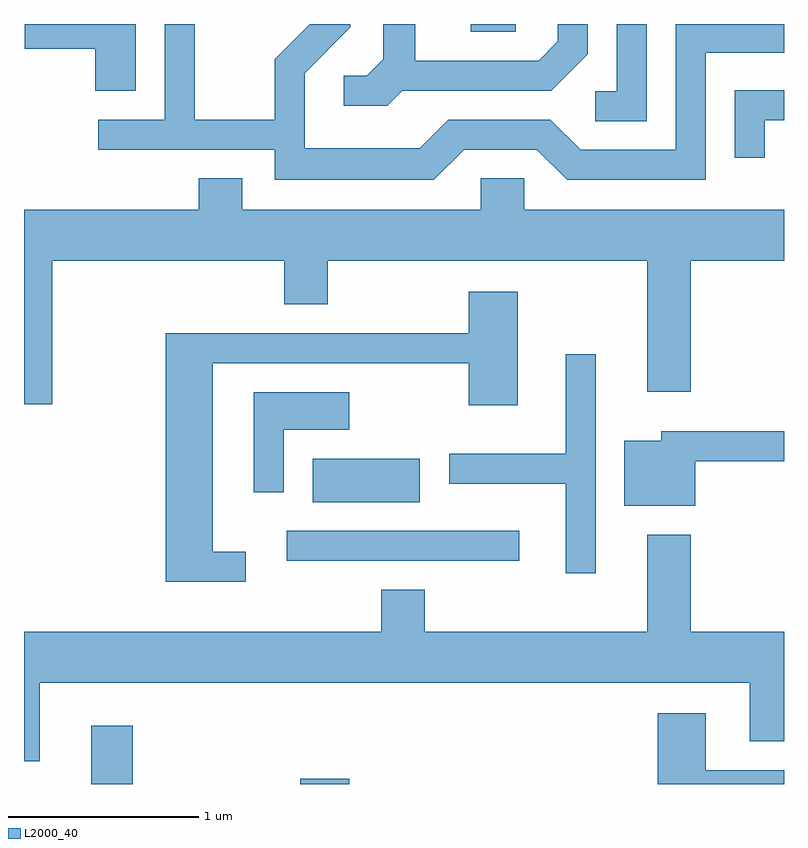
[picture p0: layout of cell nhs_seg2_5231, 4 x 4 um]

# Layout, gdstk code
import gdstk
lib = gdstk.Library(unit=1e-6, precision=1e-09)
def R(c, l, rs):  # rectangles x0, y0, x1, y1
    for r in rs: c.add(gdstk.rectangle(r[:2], r[2:], *l))
def P(c, l, *ps):  # polygons
    for p in ps: c.add(gdstk.Polygon(p, *l))
L2000_40 = (2000, 40)

nhs_seg2_5231 = lib.new_cell('nhs_seg2_5231')
R(nhs_seg2_5231, L2000_40, [(339.966,1027.802,340.184,1028.109), (341.066,1027.802,341.324,1027.829), (340.993,1028.976,342.218,1029.134), (341.131,1029.286,341.694,1029.514), (341.961,1031.761,342.199,1031.802)])
P(nhs_seg2_5231, L2000_40, [(341.602,1031.451),(342.387,1031.451),(342.579,1031.644),(342.579,1031.802),(342.421,1031.802),(342.421,1031.712),(342.319,1031.609),(341.669,1031.609),(341.669,1031.802),(341.501,1031.802),(341.501,1031.617),(341.414,1031.529),(341.293,1031.529),(341.293,1031.371),(341.522,1031.371)],
  [(340.199,1031.802),(339.616,1031.802),(339.616,1031.671),(339.986,1031.671),(339.986,1031.451),(340.199,1031.451)],
  [(342.889,1031.802),(342.731,1031.802),(342.731,1031.449),(342.618,1031.449),(342.618,1031.291),(342.889,1031.291)],
  [(341.927,1031.141),(342.309,1031.141),(342.469,1030.981),(343.199,1030.981),(343.199,1031.651),(343.611,1031.651),(343.611,1031.802),(343.041,1031.802),(343.041,1031.139),(342.542,1031.139),(342.382,1031.299),(341.844,1031.299),(341.694,1031.149),(341.089,1031.149),(341.089,1031.544),(341.329,1031.784),(341.329,1031.802),(341.116,1031.802),(340.931,1031.617),(340.931,1031.299),(340.509,1031.299),(340.509,1031.802),(340.351,1031.802),(340.351,1031.299),(340.003,1031.299),(340.003,1031.141),(340.931,1031.141),(340.931,1030.981),(341.767,1030.981)],
  [(343.509,1031.296),(343.611,1031.296),(343.611,1031.454),(343.351,1031.454),(343.351,1031.098),(343.509,1031.098)],
  [(342.244,1030.989),(342.016,1030.989),(342.016,1030.824),(340.759,1030.824),(340.759,1030.989),(340.531,1030.989),(340.531,1030.824),(339.611,1030.824),(339.611,1029.801),(339.759,1029.801),(339.759,1030.556),(340.981,1030.556),(340.981,1030.326),(341.209,1030.326),(341.209,1030.556),(342.891,1030.556),(342.891,1029.866),(343.119,1029.866),(343.119,1030.556),(343.611,1030.556),(343.611,1030.824),(342.244,1030.824)],
  [(340.778,1029.024),(340.604,1029.024),(340.604,1030.016),(341.951,1030.016),(341.951,1029.796),(342.209,1029.796),(342.209,1030.394),(341.951,1030.394),(341.951,1030.174),(340.356,1030.174),(340.356,1028.866),(340.778,1028.866)],
  [(342.619,1030.063),(342.461,1030.063),(342.461,1029.539),(341.848,1029.539),(341.848,1029.381),(342.461,1029.381),(342.461,1028.912),(342.619,1028.912)],
  [(340.979,1029.666),(341.324,1029.666),(341.324,1029.864),(340.821,1029.864),(340.821,1029.338),(340.979,1029.338)],
  [(343.144,1029.501),(343.611,1029.501),(343.611,1029.659),(342.966,1029.659),(342.966,1029.609),(342.771,1029.609),(342.771,1029.266),(343.144,1029.266)],
  [(339.694,1028.336),(343.431,1028.336),(343.431,1028.026),(343.611,1028.026),(343.611,1028.604),(343.119,1028.604),(343.119,1029.114),(342.891,1029.114),(342.891,1028.604),(341.719,1028.604),(341.719,1028.824),(341.491,1028.824),(341.491,1028.604),(339.611,1028.604),(339.611,1027.921),(339.694,1027.921)],
  [(343.611,1027.874),(343.199,1027.874),(343.199,1028.174),(342.946,1028.174),(342.946,1027.802),(343.611,1027.802)])

lib.write_gds('nhs_seg2_5231.gds')
